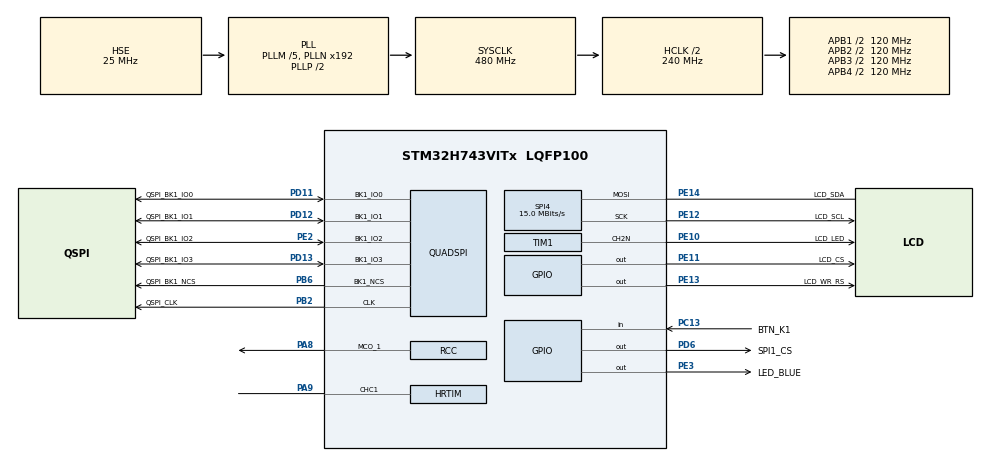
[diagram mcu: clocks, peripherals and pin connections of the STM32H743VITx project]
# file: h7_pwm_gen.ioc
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CORTEX_M7.default_mode_Activation=1
HRTIM.CompareUnit1-Output_TC1=HRTIM_COMPAREUNIT_1
HRTIM.CompareValue1-Output_TC1=120
HRTIM.Configuration_TC=Waveform
HRTIM.NumberResetSource1-Output_TC1=1
HRTIM.NumberSetSource1-Output_TC1=1
HRTIM.Periode_TC=240
HRTIM.ResetOutput1_Source1-Output_TC1=HRTIM_OUTPUTRESET_TIMCMP1
HRTIM.SetOutput1_Source1-Output_TC1=HRTIM_OUTPUTSET_TIMPER
Mcu.Family=STM32H7
Mcu.Name=STM32H743VITx
Mcu.Package=LQFP100
NVIC.PriorityGroup=NVIC_PRIORITYGROUP_4
PA11.GPIO_Label=USB1_DN
PA11.Signal=USB_OTG_FS_DM
PA12.GPIO_Label=USB1_DP
PA12.Signal=USB_OTG_FS_DP
PA13\ (JTMS/SWDIO).Mode=Serial_Wire
PA13\ (JTMS/SWDIO).Signal=DEBUG_JTMS-SWDIO
PA14\ (JTCK/SWCLK).Mode=Serial_Wire
PA14\ (JTCK/SWCLK).Signal=DEBUG_JTCK-SWCLK
PA4.Signal=DCMI_HSYNC
PA6.Signal=DCMI_PIXCLK
PA8.Mode=Clock-out-1
PA8.Signal=RCC_MCO_1
PA9.Mode=Output_TC1
PA9.Signal=HRTIM_CHC1
PB2.GPIO_Label=QSPI_CLK
PB2.Mode=Single Bank 1
PB2.Signal=QUADSPI_CLK
PB3\ (JTDO/TRACESWO).Signal=SPI1_SCK
PB4\ (NJTRST).Signal=SPI1_MISO
PB6.GPIO_Label=QSPI_BK1_NCS
PB6.Mode=Single Bank 1
PB6.Signal=QUADSPI_BK1_NCS
PB7.Signal=DCMI_VSYNC
PB8.Signal=I2C1_SCL
PB9.Signal=I2C1_SDA
PC10.Signal=SDMMC1_D2
PC11.Signal=SDMMC1_D3
PC12.Signal=SDMMC1_CK
PC13.GPIO_Label=BTN_K1
PC13.GPIO_PuPd=GPIO_PULLDOWN
PC13.Signal=GPIO_Input
PC14-OSC32_IN\ (OSC32_IN).Mode=LSE-External-Oscillator
PC14-OSC32_IN\ (OSC32_IN).Signal=RCC_OSC32_IN
PC15-OSC32_OUT\ (OSC32_OUT).Mode=LSE-External-Oscillator
PC15-OSC32_OUT\ (OSC32_OUT).Signal=RCC_OSC32_OUT
PC6.Signal=DCMI_D0
PC7.Signal=DCMI_D1
PC8.Signal=SDMMC1_D0
PC9.Signal=SDMMC1_D1
PD11.GPIO_Label=QSPI_BK1_IO0
PD11.Mode=Single Bank 1
PD11.Signal=QUADSPI_BK1_IO0
PD12.GPIO_Label=QSPI_BK1_IO1
PD12.Mode=Single Bank 1
PD12.Signal=QUADSPI_BK1_IO1
PD13.GPIO_Label=QSPI_BK1_IO3
PD13.Mode=Single Bank 1
PD13.Signal=QUADSPI_BK1_IO3
PD2.Signal=SDMMC1_CMD
PD3.Signal=DCMI_D5
PD6.GPIO_Label=SPI1_CS
PD6.Signal=GPIO_Output
PD7.Signal=SPI1_MOSI
PE0.Signal=DCMI_D2
PE1.Signal=DCMI_D3
PE10.GPIO_Label=LCD_LED
PE10.Mode=PWM Generation2 CH2N
PE10.Signal=TIM1_CH2N
PE11.GPIO_Label=LCD_CS
PE11.Signal=GPIO_Output
PE12.GPIO_Label=LCD_SCL
PE12.Mode=Simplex_Bidirectional_Master
PE12.Signal=SPI4_SCK
PE13.GPIO_Label=LCD_WR_RS
PE13.Signal=GPIO_Output
PE14.GPIO_Label=LCD_SDA
PE14.Mode=Simplex_Bidirectional_Master
PE14.Signal=SPI4_MOSI
PE2.GPIO_Label=QSPI_BK1_IO2
PE2.Mode=Single Bank 1
PE2.Signal=QUADSPI_BK1_IO2
PE3.GPIO_Label=LED_BLUE
PE3.Signal=GPIO_Output
PE4.Signal=DCMI_D4
PE5.Signal=DCMI_D6
PE6.Signal=DCMI_D7
PH0-OSC_IN\ (PH0).Mode=HSE-External-Oscillator
PH0-OSC_IN\ (PH0).Signal=RCC_OSC_IN
PH1-OSC_OUT\ (PH1).Mode=HSE-External-Oscillator
PH1-OSC_OUT\ (PH1).Signal=RCC_OSC_OUT
ProjectManager.HeapSize=0x200
ProjectManager.StackSize=0x400
ProjectManager.TargetToolchain=STM32CubeIDE
RCC.ADCFreq_Value=240000000
RCC.APB1Freq_Value=120000000
RCC.APB2Freq_Value=120000000
RCC.APB3Freq_Value=120000000
RCC.APB4Freq_Value=120000000
RCC.CortexFreq_Value=480000000
RCC.D1PPRE=RCC_APB3_DIV2
RCC.D2PPRE1=RCC_APB1_DIV2
RCC.D2PPRE2=RCC_APB2_DIV2
RCC.D3PPRE=RCC_APB4_DIV2
RCC.DIVM1=5
RCC.DIVM2=5
RCC.DIVM3=5
RCC.DIVN1=192
RCC.DIVN2=96
RCC.DIVN3=96
RCC.HCLKFreq_Value=240000000
RCC.HPRE=RCC_HCLK_DIV2
RCC.PLLSourceVirtual=RCC_PLLSOURCE_HSE
RCC.SYSCLKFreq_VALUE=480000000
RCC.SYSCLKSource=RCC_SYSCLKSOURCE_PLLCLK
RCC.USBFreq_Value=480000000
SPI4.BaudRatePrescaler=SPI_BAUDRATEPRESCALER_8
SPI4.CalculateBaudRate=15.0 MBits/s
SPI4.DataSize=SPI_DATASIZE_8BIT
SPI4.Direction=SPI_DIRECTION_1LINE
SPI4.Mode=SPI_MODE_MASTER
SPI4.VirtualType=VM_MASTER
TIM1.Channel-PWM\ Generation2\ CH2N=TIM_CHANNEL_2
TIM1.Period=1000-1
TIM1.Prescaler=24-1
board=custom

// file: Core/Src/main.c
/* USER CODE BEGIN Header */
/**
  ******************************************************************************
  * @file           : main.c
  * @brief          : Main program body
  ******************************************************************************
  * @attention
  *
  * Copyright (c) 2023 STMicroelectronics.
  * All rights reserved.
  *
  * This software is licensed under terms that can be found in the LICENSE file
  * in the root directory of this software component.
  * If no LICENSE file comes with this software, it is provided AS-IS.
  *
  ******************************************************************************
  */
/* USER CODE END Header */
#include "main.h"
#include "hrtim.h"
#include "quadspi.h"
#include "spi.h"
#include "tim.h"
#include "gpio.h"

/* USER CODE BEGIN Includes */
#include "stdbool.h"
#include "stdio.h"
#include "st7735/st7735.h"
/* USER CODE END Includes */

/* USER CODE BEGIN PD */
#define LCD_Brightness_timer &htim1
#define LCD_Brightness_channel TIM_CHANNEL_2
typedef enum
{
  PWM_10_MHZ = 0,
  PWM_20_MHZ,
  PWM_30_MHZ,
  PWM_40_MHZ,
  PWM_60_MHZ,
}pwm_freq_t;
/* USER CODE END PD */

void SystemClock_Config(void);
static void MPU_Config(void);

/* USER CODE BEGIN 0 */
void LCD_SetBrightness(uint32_t Brightness)
{
  __HAL_TIM_SetCompare(LCD_Brightness_timer, LCD_Brightness_channel, Brightness);
}

uint32_t LCD_GetBrightness(void)
{
    return __HAL_TIM_GetCompare(LCD_Brightness_timer, LCD_Brightness_channel);
}
bool read_btn()
{
  return HAL_GPIO_ReadPin(BTN_K1_GPIO_Port, BTN_K1_Pin) == GPIO_PIN_SET? true:false;
}
void update_pwm_freq(pwm_freq_t new_pwm_freq)
{
  int freqMHz = 0;
  uint32_t period = 0;
  char str[64];

  //disable PWM output
  HAL_HRTIM_WaveformOutputStop(&hhrtim, HRTIM_OUTPUT_TC1);
  HAL_HRTIM_WaveformCounterStop(&hhrtim, HRTIM_TIMERID_TIMER_C);

  switch(new_pwm_freq)
  {
    case PWM_10_MHZ:
      freqMHz = 10;
      period = 24;
    break;
    case PWM_20_MHZ:
      freqMHz = 20;
      period = 12;
    break;
    case PWM_30_MHZ:
      freqMHz = 30;
      period = 8;
    break;
    case PWM_40_MHZ:
      freqMHz = 40;
      period = 6;
    break;
    case PWM_60_MHZ:
      freqMHz = 60;
      period = 4;
    break;
  }

  //changing PWM config
  __HAL_HRTIM_SETPERIOD(&hhrtim,HRTIM_TIMERINDEX_TIMER_C,period);
  __HAL_HRTIM_SETCOMPARE(&hhrtim,HRTIM_TIMERINDEX_TIMER_C,HRTIM_COMPAREUNIT_1,period/2);

  //enable PWM output
  HAL_HRTIM_WaveformOutputStart(&hhrtim, HRTIM_OUTPUT_TC1);
  HAL_HRTIM_WaveformCounterStart(&hhrtim, HRTIM_TIMERID_TIMER_C);

  //show freq on display
  sprintf(str,"freq: %02d MHz",freqMHz);
  ST7735_WriteString(0, 0, str, Font_11x18, DISP_Black, DISP_Pink);
}
/* USER CODE END 0 */

int main(void)
{
  /* USER CODE BEGIN 1 */
  pwm_freq_t pwm_freq = PWM_10_MHZ;  //default freq
  /* USER CODE END 1 */

  /* MPU Configuration--------------------------------------------------------*/
  MPU_Config();

  /* MCU Configuration--------------------------------------------------------*/

  /* Reset of all peripherals, Initializes the Flash interface and the Systick. */
  HAL_Init();

  /* Configure the system clock */
  SystemClock_Config();

  /* Initialize all configured peripherals */
  MX_GPIO_Init();
  MX_QUADSPI_Init();
  MX_SPI4_Init();
  MX_TIM1_Init();
  MX_HRTIM_Init();
  /* USER CODE BEGIN 2 */
  //start LCD PWM
  HAL_TIMEx_PWMN_Start(LCD_Brightness_timer,LCD_Brightness_channel);
  LCD_SetBrightness(0);

  ST7735_Init();
  ST7735_FillScreen(DISP_Pink);

  //update timer config and enable PWM
  update_pwm_freq(pwm_freq);
  /* USER CODE END 2 */

  /* Infinite loop */
  /* USER CODE BEGIN WHILE */
  while (1)
  {
    int i = 0;
    //handling button press cycle
    while(read_btn())
    {
      HAL_Delay(1);
      i++;
    }
    if(i>50)
    {
      if(pwm_freq == PWM_60_MHZ)
        pwm_freq = PWM_10_MHZ;
      else
        pwm_freq++;
      update_pwm_freq(pwm_freq);
    }
    /* USER CODE END WHILE */

  }
}

void SystemClock_Config(void)
{
  RCC_OscInitTypeDef RCC_OscInitStruct = {0};
  RCC_ClkInitTypeDef RCC_ClkInitStruct = {0};

  /** Supply configuration update enable
  */
  HAL_PWREx_ConfigSupply(PWR_LDO_SUPPLY);

  /** Configure the main internal regulator output voltage
  */
  __HAL_PWR_VOLTAGESCALING_CONFIG(PWR_REGULATOR_VOLTAGE_SCALE1);

  while(!__HAL_PWR_GET_FLAG(PWR_FLAG_VOSRDY)) {}

  __HAL_RCC_SYSCFG_CLK_ENABLE();
  __HAL_PWR_VOLTAGESCALING_CONFIG(PWR_REGULATOR_VOLTAGE_SCALE0);

  while(!__HAL_PWR_GET_FLAG(PWR_FLAG_VOSRDY)) {}

  /** Initializes the RCC Oscillators according to the specified parameters
  * in the RCC_OscInitTypeDef structure.
  */
  RCC_OscInitStruct.OscillatorType = RCC_OSCILLATORTYPE_HSI|RCC_OSCILLATORTYPE_HSE;
  RCC_OscInitStruct.HSEState = RCC_HSE_ON;
  RCC_OscInitStruct.HSIState = RCC_HSI_DIV1;
  RCC_OscInitStruct.HSICalibrationValue = RCC_HSICALIBRATION_DEFAULT;
  RCC_OscInitStruct.PLL.PLLState = RCC_PLL_ON;
  RCC_OscInitStruct.PLL.PLLSource = RCC_PLLSOURCE_HSE;
  RCC_OscInitStruct.PLL.PLLM = 5;
  RCC_OscInitStruct.PLL.PLLN = 192;
  RCC_OscInitStruct.PLL.PLLP = 2;
  RCC_OscInitStruct.PLL.PLLQ = 2;
  RCC_OscInitStruct.PLL.PLLR = 2;
  RCC_OscInitStruct.PLL.PLLRGE = RCC_PLL1VCIRANGE_2;
  RCC_OscInitStruct.PLL.PLLVCOSEL = RCC_PLL1VCOWIDE;
  RCC_OscInitStruct.PLL.PLLFRACN = 0;
  if (HAL_RCC_OscConfig(&RCC_OscInitStruct) != HAL_OK)
  {
    Error_Handler();
  }

  /** Initializes the CPU, AHB and APB buses clocks
  */
  RCC_ClkInitStruct.ClockType = RCC_CLOCKTYPE_HCLK|RCC_CLOCKTYPE_SYSCLK
                              |RCC_CLOCKTYPE_PCLK1|RCC_CLOCKTYPE_PCLK2
                              |RCC_CLOCKTYPE_D3PCLK1|RCC_CLOCKTYPE_D1PCLK1;
  RCC_ClkInitStruct.SYSCLKSource = RCC_SYSCLKSOURCE_PLLCLK;
  RCC_ClkInitStruct.SYSCLKDivider = RCC_SYSCLK_DIV1;
  RCC_ClkInitStruct.AHBCLKDivider = RCC_HCLK_DIV2;
  RCC_ClkInitStruct.APB3CLKDivider = RCC_APB3_DIV2;
  RCC_ClkInitStruct.APB1CLKDivider = RCC_APB1_DIV2;
  RCC_ClkInitStruct.APB2CLKDivider = RCC_APB2_DIV2;
  RCC_ClkInitStruct.APB4CLKDivider = RCC_APB4_DIV2;

  if (HAL_RCC_ClockConfig(&RCC_ClkInitStruct, FLASH_LATENCY_4) != HAL_OK)
  {
    Error_Handler();
  }
  HAL_RCC_MCOConfig(RCC_MCO1, RCC_MCO1SOURCE_HSI, RCC_MCODIV_1);
}

/* MPU Configuration */

void MPU_Config(void)
{
  MPU_Region_InitTypeDef MPU_InitStruct = {0};

  /* Disables the MPU */
  HAL_MPU_Disable();

  /** Initializes and configures the Region and the memory to be protected
  */
  MPU_InitStruct.Enable = MPU_REGION_ENABLE;
  MPU_InitStruct.Number = MPU_REGION_NUMBER0;
  MPU_InitStruct.BaseAddress = 0x0;
  MPU_InitStruct.Size = MPU_REGION_SIZE_4GB;
  MPU_InitStruct.SubRegionDisable = 0x87;
  MPU_InitStruct.TypeExtField = MPU_TEX_LEVEL0;
  MPU_InitStruct.AccessPermission = MPU_REGION_NO_ACCESS;
  MPU_InitStruct.DisableExec = MPU_INSTRUCTION_ACCESS_DISABLE;
  MPU_InitStruct.IsShareable = MPU_ACCESS_SHAREABLE;
  MPU_InitStruct.IsCacheable = MPU_ACCESS_NOT_CACHEABLE;
  MPU_InitStruct.IsBufferable = MPU_ACCESS_NOT_BUFFERABLE;

  HAL_MPU_ConfigRegion(&MPU_InitStruct);
  /* Enables the MPU */
  HAL_MPU_Enable(MPU_PRIVILEGED_DEFAULT);

}

void Error_Handler(void)
{
  __disable_irq();
  while (1)
  {
  }
}
